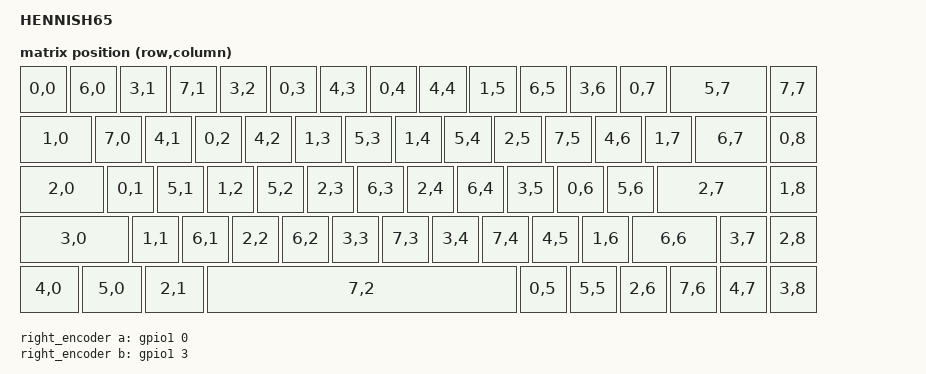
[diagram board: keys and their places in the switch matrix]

/*
 * Copyright (c) 2021 Thys de Wet (vattern)
 *
 * SPDX-License-Identifier: MIT
 */

#include <nordic/nrf52840_qiaa.dtsi>
#include <dt-bindings/zmk/matrix_transform.h>
/ {
    model = "HENNISH65";
    compatible = "hennish65";

    chosen {
        zephyr,code-partition = &code_partition;
        zephyr,sram = &sram0;
        zephyr,flash = &flash0;
        zephyr,console = &cdc_acm_uart;
        zmk,kscan = &kscan0;
	zmk,physical-layout = &layout_0;

    };

    vbatt {
  		compatible = "zmk,battery-voltage-divider";
  		label = "BATTERY";
  		io-channels = <&adc 2>; // could be adc 1
  		output-ohms = <2000000>;
  		full-ohms = <(2000000 + 806000)>;
  	};



	default_transform: keymap_transform_1 {
		compatible = "zmk,matrix-transform";
		columns = <9>;
		rows = <8>;
		        map = <
RC(0,0) RC(6,0) RC(3,1) RC(7,1) RC(3,2) RC(0,3) RC(4,3) RC(0,4) RC(4,4) RC(1,5) RC(6,5) RC(3,6) RC(0,7) RC(5,7) RC(7,7)
RC(1,0) RC(7,0) RC(4,1) RC(0,2) RC(4,2) RC(1,3) RC(5,3) RC(1,4) RC(5,4) RC(2,5) RC(7,5) RC(4,6) RC(1,7) RC(6,7) RC(0,8)
RC(2,0) RC(0,1) RC(5,1) RC(1,2) RC(5,2) RC(2,3) RC(6,3) RC(2,4) RC(6,4) RC(3,5) RC(0,6) RC(5,6)    RC(2,7)      RC(1,8)
RC(3,0) RC(1,1) RC(6,1) RC(2,2) RC(6,2) RC(3,3) RC(7,3) RC(3,4) RC(7,4) RC(4,5) RC(1,6) RC(6,6) RC(3,7) RC(2,8)
RC(4,0) RC(5,0) RC(2,1)                 RC(7,2)                         RC(0,5) RC(5,5) RC(2,6) RC(7,6) RC(4,7) RC(3,8)
        >;
	};

    /*kscan0: kscan {
        compatible = "zmk,kscan-gpio-matrix";
        label = "KSCAN";
        diode-direction = "row2col";
	wakeup-source;

    };*/
    
    right_encoder: right_encoder {
        compatible = "alps,ec11";
        label = "RIGHT_ENCODER";
        a-gpios = <&gpio1 0 (GPIO_ACTIVE_HIGH | GPIO_PULL_UP)>;
        b-gpios = <&gpio1 3 (GPIO_ACTIVE_HIGH | GPIO_PULL_UP)>;
        resolution = <3>;
        status = "okay";
    };
	
    sensors {
        compatible = "zmk,keymap-sensors";
        sensors = <&right_encoder>;
    };
};
	


&gpio0 {
    status = "okay";
};

&gpio1 {
    status = "okay";
};

&adc {
    status = "okay";
};

&usbd {
    status = "okay";
    cdc_acm_uart: cdc_acm_uart {
        compatible = "zephyr,cdc-acm-uart";
        label = "CDC_ACM_0";
    };
};


&flash0 {
    /*
     * For more information, see:
     * http://docs.zephyrproject.org/latest/devices/dts/flash_partitions.html
     */
    partitions {
        compatible = "fixed-partitions";
        #address-cells = <1>;
        #size-cells = <1>;

        sd_partition: partition@0 {
            label = "softdevice";
            reg = <0x00000000 0x00026000>;
        };
        code_partition: partition@26000 {
            label = "code_partition";
            reg = <0x00026000 0x000c6000>;
        };

        /*
         * The flash starting at 0x000ec000 and ending at
         * 0x000f3fff is reserved for use by the application.
         */

        /*
         * Storage partition will be used by FCB/LittleFS/NVS
         * if enabled.
         */
        storage_partition: partition@ec000 {
            label = "storage";
            reg = <0x000ec000 0x00008000>;
        };

        boot_partition: partition@f4000 {
            label = "adafruit_boot";
            reg = <0x000f4000 0x0000c000>;
        };
    };
};
#include <physical_layouts.dtsi>

/ {
    layout_0: layout_0 {
        compatible = "zmk,physical-layout";
        display-name = "LAYOUT";

        kscan = <&kscan0>;
        transform = <&matrix_transform_0>;

        keys  //                     w   h    x    y     rot    rx    ry
            = <&key_physical_attrs 100 100    0    0       0     0     0>
            , <&key_physical_attrs 100 100  100    0       0     0     0>
            , <&key_physical_attrs 100 100  200    0       0     0     0>
            , <&key_physical_attrs 100 100  300    0       0     0     0>
            , <&key_physical_attrs 100 100  400    0       0     0     0>
            , <&key_physical_attrs 100 100  500    0       0     0     0>
            , <&key_physical_attrs 100 100  600    0       0     0     0>
            , <&key_physical_attrs 100 100  700    0       0     0     0>
            , <&key_physical_attrs 100 100  800    0       0     0     0>
            , <&key_physical_attrs 100 100  900    0       0     0     0>
            , <&key_physical_attrs 100 100 1000    0       0     0     0>
            , <&key_physical_attrs 100 100 1100    0       0     0     0>
            , <&key_physical_attrs 100 100 1200    0       0     0     0>
            , <&key_physical_attrs 200 100 1300    0       0     0     0>
            , <&key_physical_attrs 100 100 1500    0       0     0     0>
            , <&key_physical_attrs 150 100    0  100       0     0     0>
            , <&key_physical_attrs 100 100  150  100       0     0     0>
            , <&key_physical_attrs 100 100  250  100       0     0     0>
            , <&key_physical_attrs 100 100  350  100       0     0     0>
            , <&key_physical_attrs 100 100  450  100       0     0     0>
            , <&key_physical_attrs 100 100  550  100       0     0     0>
            , <&key_physical_attrs 100 100  650  100       0     0     0>
            , <&key_physical_attrs 100 100  750  100       0     0     0>
            , <&key_physical_attrs 100 100  850  100       0     0     0>
            , <&key_physical_attrs 100 100  950  100       0     0     0>
            , <&key_physical_attrs 100 100 1050  100       0     0     0>
            , <&key_physical_attrs 100 100 1150  100       0     0     0>
            , <&key_physical_attrs 100 100 1250  100       0     0     0>
            , <&key_physical_attrs 150 100 1350  100       0     0     0>
            , <&key_physical_attrs 100 100 1500  100       0     0     0>
            , <&key_physical_attrs 175 100    0  200       0     0     0>
            , <&key_physical_attrs 100 100  175  200       0     0     0>
            , <&key_physical_attrs 100 100  275  200       0     0     0>
            , <&key_physical_attrs 100 100  375  200       0     0     0>
            , <&key_physical_attrs 100 100  475  200       0     0     0>
            , <&key_physical_attrs 100 100  575  200       0     0     0>
            , <&key_physical_attrs 100 100  675  200       0     0     0>
            , <&key_physical_attrs 100 100  775  200       0     0     0>
            , <&key_physical_attrs 100 100  875  200       0     0     0>
            , <&key_physical_attrs 100 100  975  200       0     0     0>
            , <&key_physical_attrs 100 100 1075  200       0     0     0>
            , <&key_physical_attrs 100 100 1175  200       0     0     0>
            , <&key_physical_attrs 225 100 1275  200       0     0     0>
            , <&key_physical_attrs 100 100 1500  200       0     0     0>
            , <&key_physical_attrs 225 100    0  300       0     0     0>
            , <&key_physical_attrs 100 100  225  300       0     0     0>
            , <&key_physical_attrs 100 100  325  300       0     0     0>
            , <&key_physical_attrs 100 100  425  300       0     0     0>
            , <&key_physical_attrs 100 100  525  300       0     0     0>
            , <&key_physical_attrs 100 100  625  300       0     0     0>
            , <&key_physical_attrs 100 100  725  300       0     0     0>
            , <&key_physical_attrs 100 100  825  300       0     0     0>
            , <&key_physical_attrs 100 100  925  300       0     0     0>
            , <&key_physical_attrs 100 100 1025  300       0     0     0>
            , <&key_physical_attrs 100 100 1125  300       0     0     0>
            , <&key_physical_attrs 175 100 1225  300       0     0     0>
            , <&key_physical_attrs 100 100 1400  300       0     0     0>
            , <&key_physical_attrs 100 100 1500  300       0     0     0>
            , <&key_physical_attrs 125 100    0  400       0     0     0>
            , <&key_physical_attrs 125 100  125  400       0     0     0>
            , <&key_physical_attrs 125 100  250  400       0     0     0>
            , <&key_physical_attrs 625 100  375  400       0     0     0>
            , <&key_physical_attrs 100 100 1000  400       0     0     0>
            , <&key_physical_attrs 100 100 1100  400       0     0     0>
            , <&key_physical_attrs 100 100 1200  400       0     0     0>
            , <&key_physical_attrs 100 100 1300  400       0     0     0>
            , <&key_physical_attrs 100 100 1400  400       0     0     0>
            , <&key_physical_attrs 100 100 1500  400       0     0     0>
            ;
    };
};
